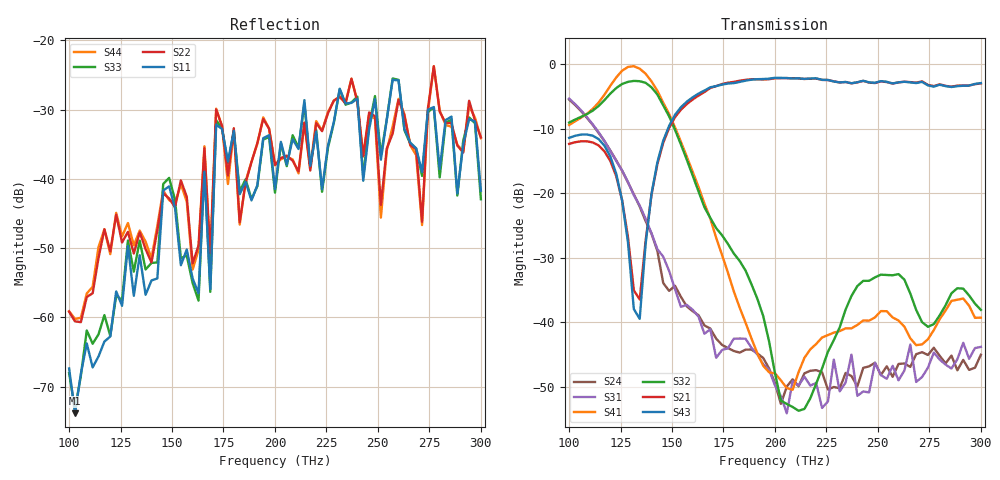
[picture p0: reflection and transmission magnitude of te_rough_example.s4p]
!This S-parameter file was generated as part of the OIDT. This project was completed as part of research conducted with my major professor and advisor, Prof. Ata Zadehgol, at the Applied and Computational Electromagnetics Signal and Power Integrity (ACEM-SPI) Lab while working toward the Ph.D. in El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
!Created with skrf (http://scikit-rf.org).
# Hz S RI R 50.0
!freq ReS11 ImS11 ReS12 ImS12 ReS13 ImS13
! ReS14 ImS14
! ReS21 ImS21 ReS22 ImS22 ReS23 ImS23
! ReS24 ImS24
! ReS31 ImS31 ReS32 ImS32 ReS33 ImS33
! ReS34 ImS34
! ReS41 ImS41 ReS42 ImS42 ReS43 ImS43
! ReS44 ImS44
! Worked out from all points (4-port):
!   71 points, 100 THz to 300.1 THz, reference 50 ohm
!   strongest paths, dB at 100 THz, 148.6 THz, 200 THz, 251.5 THz, 300.1 THz:
!     S43: -11.4, -9.5, -2.1, -2.6, -2.9
!     S21: -12.3, -9.9, -2.2, -2.6, -3.0
!     S32: -9.0, -8.1, -47.9, -32.6, -38.1
!     S41: -9.4, -7.7, -47.9, -38.2, -39.3
!     S31: -5.3, -32.0, -49.8, -48.2, -43.8
!     S24: -5.5, -35.1, -49.4, -48.2, -45.0
!   lowest |S11| = -73.8 dB at 102.9 THz (marker M1), VSWR 1.00, Z = 50 + j0.0163 ohm
!   |S11| at or under -10 dB: start of sweep to end of sweep
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1.000168e14  -0.000411 0.000121  0.267 -0.0185  0.5398 -0.0635  0.3609 -0.0211
             0.2409 -0.0196  -0.000847 0.000703  0.3294 -0.0209  0.5307 -0.0528
             0.539 -0.0626  0.3529 -0.023  -0.000355 0.000178  0.2861 -0.0217
             0.338 -0.0212  0.5315 -0.0525  0.2684 -0.0205  -0.000834 0.000732
1.028744e14  -0.000121 0.000163  0.274 -0.0191  0.4915 -0.0444  0.383 -0.0213
             0.248 -0.0208  -0.000314 0.000883  0.3514 -0.0212  0.4833 -0.0371
             0.4902 -0.0433  0.3721 -0.0231  -0.000146 0.000159  0.2952 -0.0227
             0.3607 -0.0215  0.4836 -0.0356  0.2782 -0.022  -0.000306 0.000926
1.343082e14  -0.00268 0.000849  0.0115 0.00135  0.0775 0.0197  0.7584 -0.00926
             0.015 -0.00123  -0.00398 0.00107  0.912 -0.00484  0.0764 0.0201
             0.0773 0.0225  0.7395 -0.00467  -0.00352 0.000733  0.0247 0.000852
             0.9245 -0.00759  0.0828 0.0179  0.0105 -0.00154  -0.00393 0.00158
1.685997e14  -0.00155 -0.000394  0.6622 -0.000178  0.009 -0.00184  0.0656 -0.00156
             0.6546 -0.000423  -0.00285 0.000682  0.0509 0.000459  0.00872 -0.00206
             0.00875 -0.00127  0.0645 -0.000973  -0.0015 -0.000292  0.6737 -7.62e-05
             0.0637 -6.47e-06  0.00998 0.00139  0.6633 -0.000498  -0.00252 0.000624
1.714573e14  -0.0247 0.000777  0.6874 -0.000876  0.00616 -0.000991  0.0481 -0.0016
             0.6783 -0.000668  -0.0317 0.000699  0.0337 0.000316  0.0073 -0.00165
             0.00512 0.00144  0.0538 -0.000687  -0.0265 0.000771  0.6884 -0.000453
             0.0452 0.000188  0.00964 0.00348  0.6776 -0.000612  -0.0322 0.000697
2.11464e14  -0.0164 -0.00165  0.7833 -0.00331  0.00255 -0.00212  0.00395 0.000401
            0.7783 1.65e-05  -0.0113 -0.000474  0.00323 -6.73e-05  0.00309 0.000819
            0.00309 0.00099  0.00201 0.000492  -0.0168 -0.00151  0.7822 -0.00326
            0.0041 9.56e-05  0.00231 0.00134  0.778 0.000133  -0.011 -0.00041
3.000503e14  -0.00816 -0.00101  0.6438 -0.00318  0.00364 0.00156  0.0061 -0.000275
             0.7108 0.00201  -0.02 -0.00107  0.00681 -0.00028  0.00504 -0.00249
             0.00645 -0.000326  0.0125 0.000129  -0.00706 -0.00108  0.6293 -0.00281
             0.0108 0.00132  0.0056 -0.000275  0.7151 0.00202  -0.0197 -0.00112
